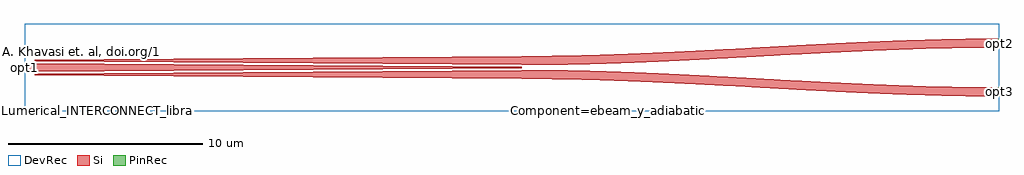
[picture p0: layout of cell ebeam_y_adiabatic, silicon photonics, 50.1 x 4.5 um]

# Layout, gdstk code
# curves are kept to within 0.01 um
import gdstk
lib = gdstk.Library(unit=1e-6, precision=1e-09)
def R(c, l, rs):  # rectangles x0, y0, x1, y1
    for r in rs: c.add(gdstk.rectangle(r[:2], r[2:], *l))
def P(c, l, *ps):  # polygons
    for p in ps: c.add(gdstk.Polygon(p, *l))
Si = (1, 0)
PinRec = (1, 10)
DevRec = (68, 0)

ebeam_y_adiabatic = lib.new_cell('ebeam_y_adiabatic')
P(ebeam_y_adiabatic, Si, [(25.891,0.131),(28.485,0.165),(31.146,0.249),(31.146,0.699),(28.894,0.625),(26.676,0.585),(0.55,0.385),(0.55,0.325)],
  [(31.214,0.251),(34.865,0.42),(34.865,0.87),(31.146,0.699),(31.146,0.249)],
  [(34.9,0.422),(40.735,0.735),(40.735,1.185),(34.865,0.87),(34.865,0.42)],
  [(40.837,0.741),(44.386,0.904),(44.386,1.354),(40.735,1.185),(40.735,0.735)],
  [(44.454,0.906),(47.388,0.996),(50.05,1.025),(50.05,1.475),(47.388,1.446),(44.386,1.354),(44.386,0.904)],
  [(31.146,-0.249),(28.212,-0.159),(25.55,-0.13),(0.55,-0.325),(0.55,-0.385),(26.676,-0.585),(28.894,-0.625),(31.146,-0.699)],
  [(34.865,-0.42),(31.146,-0.249),(31.146,-0.699),(34.865,-0.87)],
  [(40.735,-0.735),(34.865,-0.42),(34.865,-0.87),(39.267,-1.108),(40.735,-1.185)],
  [(44.386,-0.904),(40.735,-0.735),(40.735,-1.185),(44.386,-1.354)],
  [(50.05,-1.025),(47.388,-0.996),(44.386,-0.904),(44.386,-1.354),(47.388,-1.446),(50.05,-1.475)],
  [(0.05,-0.225),(0.05,0.225),(0.55,0.225),(25.55,0.03),(25.55,-0.03),(0.55,-0.225)])
R(ebeam_y_adiabatic, DevRec, [(0.05,-2.25,50.05,2.25)])
ebeam_y_adiabatic.add(gdstk.FlexPath([(0.1,0),(0,0)], 0.45, ends="flush", simple_path=True, layer=1, datatype=10))  # PinRec
ebeam_y_adiabatic.add(gdstk.FlexPath([(50,1.25),(50.1,1.25)], 0.45, ends="flush", simple_path=True, layer=1, datatype=10))  # PinRec
ebeam_y_adiabatic.add(gdstk.FlexPath([(50,-1.25),(50.1,-1.25)], 0.45, ends="flush", simple_path=True, layer=1, datatype=10))  # PinRec
ebeam_y_adiabatic.add(gdstk.Label('Component=ebeam_y_adiabatic', (30,-2.19), layer=68, texttype=0))
ebeam_y_adiabatic.add(gdstk.Label('A. Khavasi et. al, doi.org/10.1109/JSTQE.2019.2917501 ', (0.59,0.81), layer=68, texttype=0))
ebeam_y_adiabatic.add(gdstk.Label('Lumerical_INTERCONNECT_library=Design kits/ebeam', (0.59,-2.19), layer=68, texttype=0))
ebeam_y_adiabatic.add(gdstk.Label('opt3', (50.05,-1.25), layer=1, texttype=10))
ebeam_y_adiabatic.add(gdstk.Label('opt2', (50.05,1.25), layer=1, texttype=10))
ebeam_y_adiabatic.add(gdstk.Label('opt1', (0.05,0), layer=1, texttype=10))
ebeam_y_adiabatic.add(gdstk.Label('Component=ebeam_y_adiabatic', (30,-2.19), layer=68, texttype=0))
ebeam_y_adiabatic.add(gdstk.Label('A. Khavasi et. al, doi.org/10.1109/JSTQE.2019.2917501 ', (0.59,0.81), layer=68, texttype=0))
ebeam_y_adiabatic.add(gdstk.Label('Lumerical_INTERCONNECT_library=Design kits/ebeam', (0.59,-2.19), layer=68, texttype=0))
ebeam_y_adiabatic.add(gdstk.Label('opt3', (50.05,-1.25), layer=1, texttype=10))
ebeam_y_adiabatic.add(gdstk.Label('opt2', (50.05,1.25), layer=1, texttype=10))
ebeam_y_adiabatic.add(gdstk.Label('opt1', (0.05,0), layer=1, texttype=10))

lib.write_gds('ebeam_y_adiabatic.gds')
